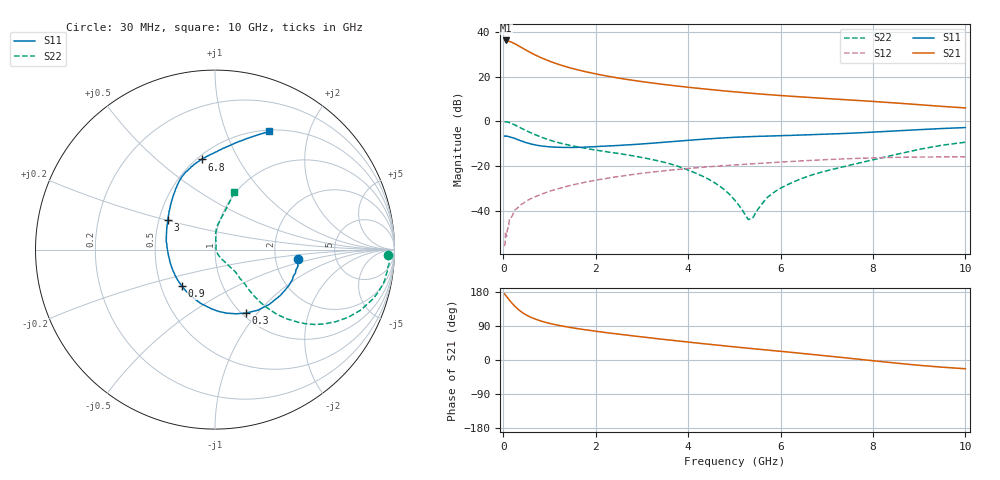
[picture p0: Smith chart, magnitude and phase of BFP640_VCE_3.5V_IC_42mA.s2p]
! Infineon Technologies  Discrete & RF Semiconductors
! BFP640
! VCE =  3.5 V,  IC =  42 mA
! Common Emitter S-Parameters:  Apr 2013
# GHz  S  MA  R  50
!  f  S11  S21  S12  S22
! GHz  MAG  ANG  MAG  ANG  MAG  ANG  MAG  ANG
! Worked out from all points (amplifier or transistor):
!   99 points, 30 MHz to 10 GHz, reference 50 ohm
!   highest |S21| = 36.2 dB at 50 MHz (marker M1)
!   |S21| within 3 dB of that: start of sweep to 381.9 MHz
!   unconditionally stable (mu >= 1): 1.857 GHz to end of sweep
!   at 350 MHz: K = 0.46, MSG = 35.8 dB, |S12| = -37.9 dB
!   at 3.5 GHz: K = 1.06, MAG = 17.8 dB, |S12| = -22.1 dB
!   at 10 GHz: K = 1.06, MAG = 9.4 dB, |S12| = -15.9 dB
!   S11 on the Smith chart (normalised r, x): 30 MHz: 2.68, -0.35; 300 MHz: 1.05, -0.88; 900 MHz: 0.64, -0.28; 3 GHz: 0.56, +0.20; 6.8 GHz: 0.53, +0.71; 10 GHz: 0.52, +1.43
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0.03  0.4648 -6.4  64.6 174.5  0.0016 90.2  0.9618 -1.7
0.05  0.4714 -11.3  64.62 171.5  0.0034 87.9  0.9733 -4.7
0.08  0.461 -18.5  64.03 166.5  0.003 77.2  0.963 -8.7
0.15  0.4453 -34.9  60.81 155.5  0.0066 78.6  0.9215 -17.4
0.2  0.4294 -45.4  57.84 148.4  0.0078 74.8  0.8785 -22.6
0.25  0.4137 -54.7  54.62 141.9  0.0103 75.5  0.8316 -27.0
0.3  0.3937 -63.7  51.15 136.1  0.0113 71.3  0.783 -30.9
0.4  0.3601 -79.5  44.66 126.3  0.014 68.2  0.693 -37.0
0.45  0.3461 -86.1  41.65 122.4  0.015 67.3  0.654 -39.2
0.6  0.3106 -104.6  34.2 112.6  0.0185 66.5  0.5509 -44.2
0.7  0.2943 -114.8  30.3 107.7  0.0206 65.4  0.4974 -46.3
0.9  0.2747 -132.3  24.49 99.9  0.0249 64.4  0.4137 -48.7
1.2  0.2619 -152.7  18.8 91.4  0.0312 63.4  0.3321 -49.9
1.7  0.2627 -176.3  13.51 81.1  0.0417 61.0  0.2569 -49.0
2.2  0.2777 167.5  10.52 72.7  0.0518 57.6  0.211 -49.1
3  0.3111 147.7  7.75 61.0  0.0685 51.2  0.1545 -47.8
3.4  0.3347 139.5  6.841 55.4  0.0763 47.8  0.1264 -49.2
5.1  0.4431 114.9  4.485 33.5  0.1069 32.8  0.0131 -48.9
6.7  0.5035 99.7  3.386 14.5  0.134 18.6  0.0639 86.1
6.8  0.5079 98.5  3.332 13.3  0.1356 17.5  0.0682 86.4
8.5  0.6104 78.4  2.568 -8.2  0.156 0.4  0.1809 78.7
10  0.7241 65.4  1.992 -23.1  0.1607 -11.7  0.3403 71.8
